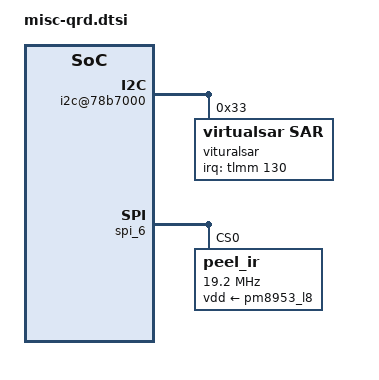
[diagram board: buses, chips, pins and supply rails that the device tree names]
&soc { 
	i2c@78b7000 { /* BLSP1 QUP3 */
		status = "okay";
		/delete-node/ synaptics@4b;
	        vituralsar@33{
			compatible = "virtualsar,sar";
			reg = <0x33>;
			interrupt-parent = <&tlmm>;
			interrupts = <130 0x02>;
			vituralsar,irq-gpio = <&tlmm 130 0x2008>;
		};
    };
};

&spi_6 {
	status = "ok";
	peel_ir@0 {
		compatible = "peel_ir";
		reg = <0x0>;
		spi-max-frequency = <19200000>;
		vdd-supply = <&pm8953_l8>; //vdd
		peel_ir,reg-id = "vdd";
		peel_ir,lr-gpio = <73>;
		peel_ir,lr-gpio-valid = <0>;
		peel_ir,spi-bpw = <32>;
		peel_ir,spi-clk-speed = <960000>;
		peel_ir,spi-mode = <0>;
		peel_ir,peel-field = <2345>;
		status = "ok";
	};
};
